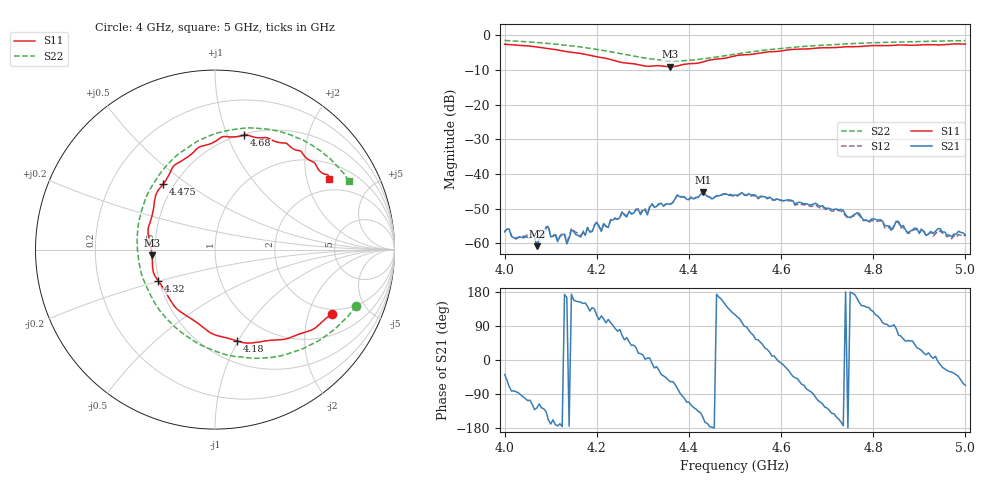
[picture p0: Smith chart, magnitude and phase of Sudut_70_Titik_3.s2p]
# Hz S RI R 50
! CMT, C1220, 16058040, 17.2.0/1
! Date: 15/08/2018 12:37:47
! Data: Format (Calibration Info)
! Freq  S11: Re/Im (F2)  S21: Re/Im (F2)  S12: Re/Im (F2)  S22: Re/Im (F2)
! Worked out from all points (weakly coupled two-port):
!   201 points, 4 GHz to 5 GHz, reference 50 ohm
!   highest |S21| = -45.17 dB at 4.43 GHz (marker M1); lowest = -60.8 dB at 4.07 GHz (marker M2)
!   lowest |S11| = -9.1 dB at 4.36 GHz (marker M3), VSWR 2.09, Z = 24 - j1.79 ohm
!   |S11| at or under -10 dB: nowhere
!   |S22| runs from -7.3 to -1.5 dB; largest |S21 - S12| = 0.00023
!   S11 on the Smith chart (normalised r, x): 4 GHz: 1.78, -2.89; 4.18 GHz: 0.71, -0.99; 4.32 GHz: 0.49, -0.20; 4.475 GHz: 0.44, +0.41; 4.68 GHz: 0.51, +1.15; 5 GHz: 1.53, +2.75
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4e9  0.6539 -0.3599  0.00116 -0.000908  0.00122 -0.000873  0.7851 -0.3142
4.06e9  0.5281 -0.452  -0.00067 -0.00128  -0.000626 -0.00134  0.6658 -0.4434
4.07e9  0.5018 -0.46  -0.000544 -0.000736  -0.000549 -0.000733  0.6402 -0.4633
4.095e9  0.4214 -0.4892  -0.0016 -0.000637  -0.00165 -0.000681  0.5713 -0.5109
4.1e9  0.4047 -0.4951  -0.00123 -0.000242  -0.00123 -0.000256  0.5559 -0.5187
4.13e9  0.3071 -0.5052  -0.00134 0.000165  -0.00135 7.11e-05  0.4567 -0.5641
4.135e9  0.2885 -0.5079  -0.000953 0.000252  -0.00105 0.00023  0.4384 -0.5697
4.145e9  0.2483 -0.5132  -0.00156 0.00018  -0.00164 0.000156  0.4007 -0.5823
4.17e9  0.1565 -0.5182  -0.00125 0.000745  -0.00131 0.000771  0.304 -0.6013
4.18e9  0.1246 -0.5094  -0.00132 0.00105  -0.00135 0.00104  0.2613 -0.6042
4.255e9  -0.1354 -0.3834  0.0012 0.00256  0.00116 0.00263  -0.0673 -0.5369
4.31e9  -0.2901 -0.2118  0.00257 0.000231  0.00268 0.000223  -0.281 -0.3714
4.32e9  -0.3158 -0.1751  0.00364 -0.000601  0.00369 -0.000664  -0.3137 -0.3314
4.335e9  -0.3435 -0.1263  0.00329 -0.0017  0.00334 -0.00173  -0.3528 -0.2653
4.36e9  -0.3508 -0.0328  0.00198 -0.00309  0.00197 -0.00311  -0.4057 -0.1489
4.43e9  -0.3414 0.2328  -0.00478 -0.00275  -0.00476 -0.00264  -0.4156 0.1922
4.475e9  -0.2882 0.3666  -0.00461 0.00236  -0.00454 0.00245  -0.3369 0.3761
4.5e9  -0.2427 0.4451  -0.00246 0.00434  -0.0023 0.00427  -0.2779 0.4591
4.67e9  0.1462 0.6333  3.29e-05 -0.00371  -1.59e-05 -0.00352  0.2093 0.6776
4.68e9  0.1639 0.6378  -0.00103 -0.00342  -0.000965 -0.00322  0.236 0.676
4.835e9  0.4481 0.5555  4.85e-05 0.00179  7.92e-06 0.00171  0.5512 0.5746
5e9  0.6378 0.3944  0.000522 -0.00121  0.000554 -0.00115  0.7473 0.3819
